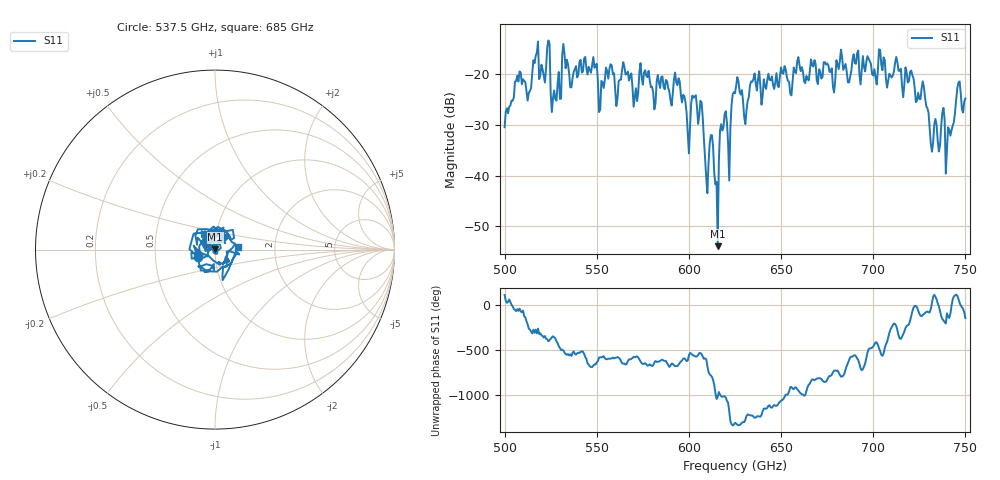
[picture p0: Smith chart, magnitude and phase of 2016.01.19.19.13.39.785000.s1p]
!Created with skrf (http://scikit-rf.org).
# GHz S RI R 50.0
!freq ReS11 ImS11
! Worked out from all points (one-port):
!   401 points, 500 GHz to 750 GHz, reference 50 ohm
!   lowest |S11| = -53.9 dB at 615.6 GHz (marker M1), VSWR 1.00, Z = 50.1 + j0.175 ohm
!   |S11| at or under -10 dB: start of sweep to end of sweep
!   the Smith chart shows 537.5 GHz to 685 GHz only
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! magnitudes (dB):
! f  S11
! 500 GHz  -30.4
! 507.5 GHz  -21.4
! 513.1 GHz  -23.6
! 516.9 GHz  -16.3
! 523.8 GHz  -13.3
! 526.9 GHz  -23.2
! 531.2 GHz  -16.2
! 562.5 GHz  -21.1
! 593.8 GHz  -22.1
! 599.4 GHz  -31.6
! 602.5 GHz  -24.6
! 606.2 GHz  -25.2
! 609.4 GHz  -40.3
! 611.9 GHz  -32.0
! 615.6 GHz  -53.9
! 618.1 GHz  -31.1
! 621.9 GHz  -41.0
! 625 GHz  -23.8
! 630.6 GHz  -29.8
! 634.4 GHz  -21.5
! 656.2 GHz  -21.4
! 687.5 GHz  -20.5
! 718.8 GHz  -21.6
! 727.5 GHz  -22.5
! 731.9 GHz  -35.3
! 740.6 GHz  -30.5
! 746.2 GHz  -21.6
! 750 GHz  -24.8
